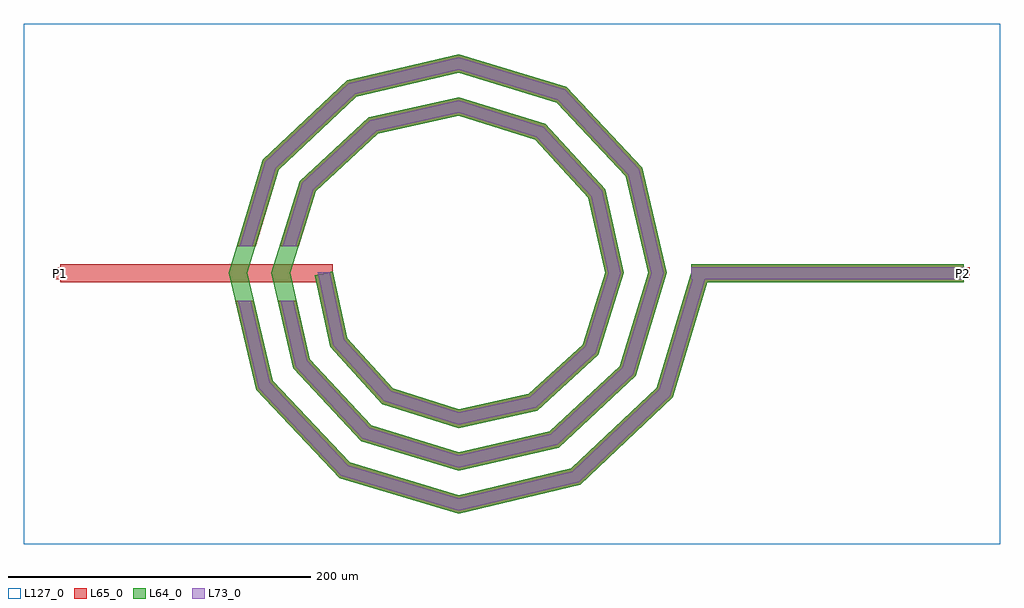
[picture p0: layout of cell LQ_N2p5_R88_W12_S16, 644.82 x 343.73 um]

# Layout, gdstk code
import gdstk
lib = gdstk.Library(unit=1e-6, precision=1e-09)
def R(c, l, rs):  # rectangles x0, y0, x1, y1
    for r in rs: c.add(gdstk.rectangle(r[:2], r[2:], *l))
def P(c, l, *ps):  # polygons
    for p in ps: c.add(gdstk.Polygon(p, *l))
L64_0 = (64, 0)
L65_0 = (65, 0)
L73_0 = (73, 0)
L127_0 = (127, 0)

lq_n2p5_r88_w12_s16 = lib.new_cell('LQ_N2p5_R88_W12_S16')
R(lq_n2p5_r88_w12_s16, L64_0, [(153.814,-6,333.814,6)])
P(lq_n2p5_r88_w12_s16, L64_0, [(-73.605,-42.842),(-43.51,-75.944),(0.284,-89.885),(46.363,-79.747),(82.065,-47.067),(96.964,0.265),(85.888,49.886),(50.623,88.188),(0.248,104.044),(-53.412,92.027),(-94.311,54.176),(-111.124,0.233),(-98.166,-56.94),(-57.728,-100.436),(0.22,-118.204),(60.469,-104.303),(106.561,-61.279),(125.284,0.208),(110.441,63.999),(64.828,112.687),(0.197,132.364),(-67.53,116.577),(-118.814,68.377),(-139.444,0.188),(-122.714,-71.062),(-71.925,-124.941),(0.179,-146.524),(74.595,-128.849),(131.068,-75.472),(154.064,1.713),(165.564,-1.713),(141.65,-81.982),(80.499,-139.781),(0.179,-158.943),(-78.449,-135.514),(-133.653,-76.951),(-151.862,0.188),(-129.377,74.916),(-73.403,127.526),(0.197,144.782),(71.385,123.24),(121.399,69.854),(137.701,0.208),(117.103,-67.854),(66.304,-115.273),(0.22,-130.62),(-64.324,-110.965),(-109.147,-62.752),(-123.54,0.233),(-104.826,60.796),(-59.199,103.022),(0.248,116.459),(57.269,98.686),(96.898,55.645),(109.378,0.265),(92.544,-53.744),(52.088,-90.775),(0.284,-102.297),(-50.221,-86.402),(-84.653,-48.529),(-94.875,-1.268),(-83.146,1.268)])
R(lq_n2p5_r88_w12_s16, L65_0, [(-263.01,-6,-83.01,6), (153.814,-6,333.814,6), (-267.01,-4,-259.01,4), (329.814,-4,337.814,4)])
P(lq_n2p5_r88_w12_s16, L65_0, [(-122.714,-71.062),(-71.925,-124.941),(0.179,-146.524),(74.595,-128.849),(131.068,-75.472),(154.064,1.713),(165.564,-1.713),(141.65,-81.982),(80.499,-139.781),(0.179,-158.943),(-78.449,-135.514),(-133.653,-76.951),(-147.569,-18),(-135.239,-18)],
  [(-98.166,-56.94),(-57.728,-100.436),(0.22,-118.204),(60.469,-104.304),(106.561,-61.279),(125.284,0.208),(110.441,63.999),(64.828,112.687),(0.197,132.364),(-67.53,116.577),(-118.814,68.377),(-133.972,18),(-146.503,18),(-129.377,74.916),(-73.403,127.526),(0.197,144.782),(71.385,123.24),(121.399,69.854),(137.701,0.208),(117.103,-67.854),(66.304,-115.273),(0.22,-130.62),(-64.324,-110.965),(-109.147,-62.752),(-119.373,-18),(-107.064,-18)],
  [(-43.51,-75.945),(0.285,-89.885),(46.363,-79.747),(82.065,-47.067),(96.964,0.265),(85.888,49.886),(50.623,88.188),(0.248,104.044),(-53.412,92.027),(-94.311,54.176),(-105.49,18),(-118.05,18),(-104.826,60.796),(-59.199,103.022),(0.248,116.459),(57.269,98.686),(96.898,55.645),(109.378,0.265),(92.544,-53.744),(52.088,-90.775),(0.285,-102.297),(-50.221,-86.402),(-84.653,-48.529),(-94.875,-1.268),(-83.146,1.268),(-73.605,-42.842)])
R(lq_n2p5_r88_w12_s16, L73_0, [(153.814,-4,333.814,4)])
P(lq_n2p5_r88_w12_s16, L73_0, [(-124.537,-72.044),(-73.012,-126.703),(0.119,-148.594),(75.579,-130.671),(132.832,-76.557),(155.981,1.142),(163.647,-1.142),(139.886,-80.897),(79.515,-137.959),(0.119,-156.873),(-77.362,-133.752),(-131.83,-75.97),(-145.514,-18),(-137.294,-18)],
  [(-99.996,-57.909),(-58.827,-102.191),(0.147,-120.273),(61.441,-106.132),(108.318,-62.374),(127.353,0.139),(112.267,64.975),(65.921,114.446),(0.132,134.434),(-68.509,118.402),(-120.574,69.467),(-136.06,18),(-144.414,18),(-127.617,73.826),(-72.424,125.701),(0.132,142.712),(70.292,121.482),(119.573,68.878),(135.632,0.139),(115.346,-66.758),(65.331,-113.444),(0.147,-128.551),(-63.225,-109.21),(-107.317,-61.783),(-117.322,-18),(-109.115,-18)],
  [(-44.628,-77.687),(0.19,-91.953),(47.317,-81.585),(83.812,-48.18),(99.033,0.177),(87.723,50.846),(51.73,89.937),(0.165,106.113),(-54.377,93.86),(-96.064,55.279),(-107.583,18),(-115.956,18),(-103.073,59.692),(-58.235,101.189),(0.165,114.39),(56.161,96.936),(95.063,54.685),(107.309,0.177),(90.798,-52.631),(51.134,-88.937),(0.19,-100.228),(-49.102,-84.659),(-82.812,-47.581),(-92.92,0.846),(-85.101,0.846),(-75.447,-43.789)])
R(lq_n2p5_r88_w12_s16, L127_0, [(-287.01,-178.943,357.814,164.782)])
lq_n2p5_r88_w12_s16.add(gdstk.Label('P2', (333.814,0), layer=65, texttype=0))
lq_n2p5_r88_w12_s16.add(gdstk.Label('P1', (-263.01,0), layer=65, texttype=0))
lq_n2p5_r88_w12_s16.add(gdstk.Label('P2', (337.814,0), layer=145, texttype=0))
lq_n2p5_r88_w12_s16.add(gdstk.Label('P1', (-267.01,0), layer=145, texttype=0))

lib.write_gds('LQ_N2p5_R88_W12_S16.gds')
